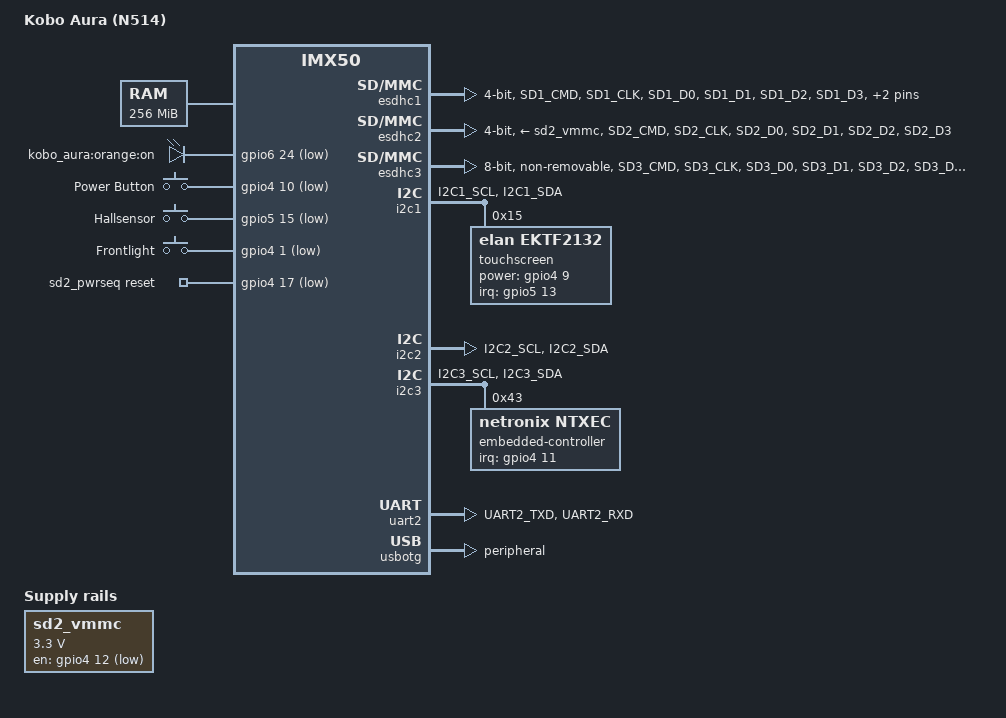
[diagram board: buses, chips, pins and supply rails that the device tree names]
// SPDX-License-Identifier: GPL-2.0+
// Copyright 2019 Jonathan Neuschäfer
//
// The Kobo Aura e-book reader, model N514. The mainboard is marked as E606F0B.

/dts-v1/;
#include "imx50.dtsi"
#include <dt-bindings/input/input.h>
#include <dt-bindings/interrupt-controller/irq.h>

/ {
	model = "Kobo Aura (N514)";
	compatible = "kobo,aura", "fsl,imx50";

	chosen {
		stdout-path = "serial1:115200n8";
	};

	memory@70000000 {
		device_type = "memory";
		reg = <0x70000000 0x10000000>;
	};

	gpio-leds {
		compatible = "gpio-leds";
		pinctrl-names = "default";
		pinctrl-0 = <&pinctrl_leds>;

		led-on {
			label = "kobo_aura:orange:on";
			gpios = <&gpio6 24 GPIO_ACTIVE_LOW>;
			panic-indicator;
		};
	};

	gpio-keys {
		compatible = "gpio-keys";
		pinctrl-names = "default";
		pinctrl-0 = <&pinctrl_gpiokeys>;

		key-power {
			label = "Power Button";
			gpios = <&gpio4 10 GPIO_ACTIVE_LOW>;
			linux,code = <KEY_POWER>;
		};

		event-hallsensor {
			label = "Hallsensor";
			gpios = <&gpio5 15 GPIO_ACTIVE_LOW>;
			linux,code = <KEY_RESERVED>;
			linux,input-type = <EV_SW>;
		};

		event-frontlight {
			label = "Frontlight";
			gpios = <&gpio4 1 GPIO_ACTIVE_LOW>;
			linux,code = <KEY_DISPLAYTOGGLE>;
		};
	};

	sd2_pwrseq: pwrseq {
		compatible = "mmc-pwrseq-simple";
		pinctrl-names = "default";
		pinctrl-0 = <&pinctrl_sd2_reset>;
		reset-gpios = <&gpio4 17 GPIO_ACTIVE_LOW>;
	};

	sd2_vmmc: gpio-regulator {
		compatible = "regulator-gpio";
		pinctrl-names = "default";
		pinctrl-0 = <&pinctrl_sd2_vmmc>;
		regulator-name = "vmmc";
		states = <3300000 0>;
		regulator-min-microvolt = <3300000>;
		regulator-max-microvolt = <3300000>;
		enable-gpio = <&gpio4 12 GPIO_ACTIVE_LOW>;
		startup-delay-us = <100000>;
	};
};

&esdhc1 {
	pinctrl-names = "default";
	pinctrl-0 = <&pinctrl_sd1>;
	max-frequency = <50000000>;
	bus-width = <4>;
	cd-gpios = <&gpio5 17 GPIO_ACTIVE_LOW>;
	disable-wp;
	status = "okay";

	/* External µSD card */
};

&esdhc2 {
	pinctrl-names = "default";
	pinctrl-0 = <&pinctrl_sd2>;
	bus-width = <4>;
	max-frequency = <50000000>;
	disable-wp;
	mmc-pwrseq = <&sd2_pwrseq>;
	vmmc-supply = <&sd2_vmmc>;
	status = "okay";

	/* CyberTan WC121 SDIO WiFi (BCM43362) */
};

&esdhc3 {
	pinctrl-names = "default";
	pinctrl-0 = <&pinctrl_sd3>;
	bus-width = <8>;
	non-removable;
	max-frequency = <50000000>;
	disable-wp;
	status = "okay";

	/* Internal eMMC */
};

&i2c1 {
	pinctrl-names = "default";
	pinctrl-0 = <&pinctrl_i2c1>;
	status = "okay";

	touchscreen@15 {
		reg = <0x15>;
		compatible = "elan,ektf2132";
		pinctrl-names = "default";
		pinctrl-0 = <&pinctrl_ts>;
		power-gpios = <&gpio4 9 GPIO_ACTIVE_HIGH>;
		interrupts-extended = <&gpio5 13 IRQ_TYPE_EDGE_FALLING>;
	};
};

&i2c2 {
	pinctrl-names = "default";
	pinctrl-0 = <&pinctrl_i2c2>;
	status = "okay";

	/* TODO: TPS65185 PMIC for E Ink at 0x68 */
};

&i2c3 {
	pinctrl-names = "default";
	pinctrl-0 = <&pinctrl_i2c3>;
	status = "okay";

	embedded-controller@43 {
		pinctrl-names = "default";
		pinctrl-0 = <&pinctrl_ec>;
		compatible = "netronix,ntxec";
		reg = <0x43>;
		system-power-controller;
		interrupts-extended = <&gpio4 11 IRQ_TYPE_EDGE_FALLING>;
		#pwm-cells = <2>;
	};
};

&iomuxc {
	pinctrl_ec: ecgrp {
		fsl,pins = <
			MX50_PAD_CSPI_SS0__GPIO4_11		0x0	/* INT */
		>;
	};

	pinctrl_gpiokeys: gpiokeysgrp {
		fsl,pins = <
			MX50_PAD_CSPI_MISO__GPIO4_10		0x0
			MX50_PAD_SD2_D7__GPIO5_15		0x0
			MX50_PAD_KEY_ROW0__GPIO4_1		0x0
		>;
	};

	pinctrl_i2c1: i2c1grp {
		fsl,pins = <
			MX50_PAD_I2C1_SCL__I2C1_SCL		0x400001fd
			MX50_PAD_I2C1_SDA__I2C1_SDA		0x400001fd
		>;
	};

	pinctrl_i2c2: i2c2grp {
		fsl,pins = <
			MX50_PAD_I2C2_SCL__I2C2_SCL		0x400001fd
			MX50_PAD_I2C2_SDA__I2C2_SDA		0x400001fd
		>;
	};

	pinctrl_i2c3: i2c3grp {
		fsl,pins = <
			MX50_PAD_I2C3_SCL__I2C3_SCL		0x400001fd
			MX50_PAD_I2C3_SDA__I2C3_SDA		0x400001fd
		>;
	};

	pinctrl_leds: ledsgrp {
		fsl,pins = <
			MX50_PAD_PWM1__GPIO6_24			0x0
		>;
	};

	pinctrl_sd1: sd1grp {
		fsl,pins = <
			MX50_PAD_SD1_CMD__ESDHC1_CMD		0x1e4
			MX50_PAD_SD1_CLK__ESDHC1_CLK		0xd4
			MX50_PAD_SD1_D0__ESDHC1_DAT0		0x1d4
			MX50_PAD_SD1_D1__ESDHC1_DAT1		0x1d4
			MX50_PAD_SD1_D2__ESDHC1_DAT2		0x1d4
			MX50_PAD_SD1_D3__ESDHC1_DAT3		0x1d4

			MX50_PAD_SD2_CD__GPIO5_17		0x0
		>;
	};

	pinctrl_sd2: sd2grp {
		fsl,pins = <
			MX50_PAD_SD2_CMD__ESDHC2_CMD		0x1e4
			MX50_PAD_SD2_CLK__ESDHC2_CLK		0xd4
			MX50_PAD_SD2_D0__ESDHC2_DAT0		0x1d4
			MX50_PAD_SD2_D1__ESDHC2_DAT1		0x1d4
			MX50_PAD_SD2_D2__ESDHC2_DAT2		0x1d4
			MX50_PAD_SD2_D3__ESDHC2_DAT3		0x1d4
		>;
	};

	pinctrl_sd2_reset: sd2-resetgrp {
		fsl,pins = <
			MX50_PAD_ECSPI2_MOSI__GPIO4_17		0x0
		>;
	};

	pinctrl_sd2_vmmc: sd2-vmmcgrp {
		fsl,pins = <
			MX50_PAD_ECSPI1_SCLK__GPIO4_12		0x0
		>;
	};

	pinctrl_sd3: sd3grp {
		fsl,pins = <
			MX50_PAD_SD3_CMD__ESDHC3_CMD		0x1e4
			MX50_PAD_SD3_CLK__ESDHC3_CLK		0xd4
			MX50_PAD_SD3_D0__ESDHC3_DAT0		0x1d4
			MX50_PAD_SD3_D1__ESDHC3_DAT1		0x1d4
			MX50_PAD_SD3_D2__ESDHC3_DAT2		0x1d4
			MX50_PAD_SD3_D3__ESDHC3_DAT3		0x1d4
			MX50_PAD_SD3_D4__ESDHC3_DAT4		0x1d4
			MX50_PAD_SD3_D5__ESDHC3_DAT5		0x1d4
			MX50_PAD_SD3_D6__ESDHC3_DAT6		0x1d4
			MX50_PAD_SD3_D7__ESDHC3_DAT7		0x1d4
		>;
	};

	pinctrl_ts: tsgrp {
		fsl,pins = <
			MX50_PAD_CSPI_MOSI__GPIO4_9		0x0
			MX50_PAD_SD2_D5__GPIO5_13		0x0
		>;
	};

	pinctrl_uart2: uart2grp {
		fsl,pins = <
			MX50_PAD_UART2_TXD__UART2_TXD_MUX	0x1e4
			MX50_PAD_UART2_RXD__UART2_RXD_MUX	0x1e4
		>;
	};

	pinctrl_usbphy: usbphygrp {
		fsl,pins = <
			MX50_PAD_ECSPI2_SS0__GPIO4_19		0x0
		>;
	};
};

&uart2 {
	pinctrl-names = "default";
	pinctrl-0 = <&pinctrl_uart2>;
	status = "okay";
};

&usbotg {
	phy_type = "utmi_wide";
	dr_mode = "peripheral";
	status = "okay";
};

&usbphy0 {
	pinctrl-names = "default";
	pinctrl-0 = <&pinctrl_usbphy>;
	vbus-detect-gpio = <&gpio4 19 GPIO_ACTIVE_LOW>;
};
